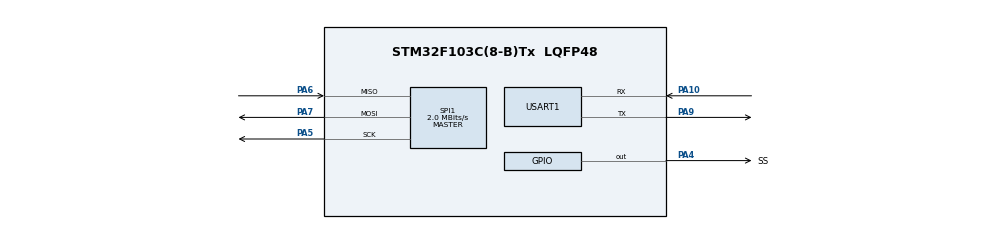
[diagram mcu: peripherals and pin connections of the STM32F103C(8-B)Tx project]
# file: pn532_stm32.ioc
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Mcu.Family=STM32F1
Mcu.Name=STM32F103C(8-B)Tx
Mcu.Package=LQFP48
NVIC.PriorityGroup=NVIC_PRIORITYGROUP_4
PA10.Mode=Asynchronous
PA10.Signal=USART1_RX
PA4.GPIO_Label=SS
PA4.GPIO_PuPd=GPIO_PULLUP
PA4.Signal=GPIO_Output
PA5.Mode=Full_Duplex_Master
PA5.Signal=SPI1_SCK
PA6.Mode=Full_Duplex_Master
PA6.Signal=SPI1_MISO
PA7.Mode=Full_Duplex_Master
PA7.Signal=SPI1_MOSI
PA9.Mode=Asynchronous
PA9.Signal=USART1_TX
ProjectManager.HeapSize=0x200
ProjectManager.StackSize=0x400
ProjectManager.TargetToolchain=MDK-ARM V5
RCC.APB1Freq_Value=8000000
RCC.APB2Freq_Value=8000000
SPI1.BaudRatePrescaler=SPI_BAUDRATEPRESCALER_4
SPI1.CalculateBaudRate=2.0 MBits/s
SPI1.Direction=SPI_DIRECTION_2LINES
SPI1.FirstBit=SPI_FIRSTBIT_LSB
SPI1.Mode=SPI_MODE_MASTER
SPI1.VirtualType=VM_MASTER
USART1.VirtualMode=VM_ASYNC
VP_SYS_VS_ND.Mode=No_Debug
board=custom

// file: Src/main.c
/* USER CODE BEGIN Header */
/**
  ******************************************************************************
  * @file           : main.c
  * @brief          : Main program body
  ******************************************************************************
  * @attention
  *
  * <h2><center>&copy; Copyright (c) 2019 STMicroelectronics.
  * All rights reserved.</center></h2>
  *
  * This software component is licensed by ST under BSD 3-Clause license,
  * the "License"; You may not use this file except in compliance with the
  * License. You may obtain a copy of the License at:
  *                        opensource.org/licenses/BSD-3-Clause
  *
  ******************************************************************************
  */
/* USER CODE END Header */

#include "main.h"

/* USER CODE BEGIN Includes */
#include "pn532_stm32f1.h"
/* USER CODE END Includes */

SPI_HandleTypeDef hspi1;

UART_HandleTypeDef huart1;

/* USER CODE BEGIN PV */
PN532 pn532;
/* USER CODE END PV */

void SystemClock_Config(void);
static void MX_GPIO_Init(void);
static void MX_SPI1_Init(void);
static void MX_USART1_UART_Init(void);

int main(void)
{
  /* USER CODE BEGIN 1 */
  uint8_t buff[255];
  uint8_t uid[MIFARE_UID_MAX_LENGTH];
  uint32_t pn532_error = PN532_ERROR_NONE;
  int32_t uid_len = 0;
  /* USER CODE END 1 */

  /* MCU Configuration--------------------------------------------------------*/

  /* Reset of all peripherals, Initializes the Flash interface and the Systick. */
  HAL_Init();

  /* Configure the system clock */
  SystemClock_Config();

  /* Initialize all configured peripherals */
  MX_GPIO_Init();
  MX_SPI1_Init();
  MX_USART1_UART_Init();
  /* USER CODE BEGIN 2 */
  printf("Hello!\r\n");
  PN532 pn532;
  PN532_Init(&pn532);
  PN532_GetFirmwareVersion(&pn532, buff);
  if (PN532_GetFirmwareVersion(&pn532, buff) == PN532_STATUS_OK) {
    printf("Found PN532 with firmware version: %d.%d\r\n", buff[1], buff[2]);
  }
  PN532_SamConfiguration(&pn532);
  printf("Waiting for RFID/NFC card...\r\n");
  /* USER CODE END 2 */

  /* Infinite loop */
  while (1)
  {

    /* USER CODE BEGIN 3 */
    // Check if a card is available to read
    uid_len = PN532_ReadPassiveTarget(&pn532, uid, PN532_MIFARE_ISO14443A, 1000);
    if (uid_len == PN532_STATUS_ERROR) {
      printf(".");
    } else {
      printf("Found card with UID: ");
      for (uint8_t i = 0; i < uid_len; i++) {
        printf("%02x ", uid[i]);
      }
      printf("\r\n");
      break;
    }
  }
  printf("Reading blocks...\r\n");
  for (uint8_t block_number = 0; block_number < 135; block_number++) {
    pn532_error = PN532_Ntag2xxReadBlock(&pn532, buff, block_number);
    if (pn532_error != PN532_ERROR_NONE) {
      break;
    }
    printf("%d: ", block_number);
    for (uint8_t i = 0; i < 4; i++) {
      printf("%02x ", buff[i]);
    }
    printf("\r\n");
  }
  if (pn532_error) {
    printf("Error: 0x%02x\r\n", pn532_error);
  }
  /* USER CODE END 3 */
}

void SystemClock_Config(void)
{
  RCC_OscInitTypeDef RCC_OscInitStruct = {0};
  RCC_ClkInitTypeDef RCC_ClkInitStruct = {0};

  /** Initializes the CPU, AHB and APB busses clocks
  */
  RCC_OscInitStruct.OscillatorType = RCC_OSCILLATORTYPE_HSI;
  RCC_OscInitStruct.HSIState = RCC_HSI_ON;
  RCC_OscInitStruct.HSICalibrationValue = RCC_HSICALIBRATION_DEFAULT;
  RCC_OscInitStruct.PLL.PLLState = RCC_PLL_NONE;
  if (HAL_RCC_OscConfig(&RCC_OscInitStruct) != HAL_OK)
  {
    Error_Handler();
  }
  /** Initializes the CPU, AHB and APB busses clocks
  */
  RCC_ClkInitStruct.ClockType = RCC_CLOCKTYPE_HCLK|RCC_CLOCKTYPE_SYSCLK
                              |RCC_CLOCKTYPE_PCLK1|RCC_CLOCKTYPE_PCLK2;
  RCC_ClkInitStruct.SYSCLKSource = RCC_SYSCLKSOURCE_HSI;
  RCC_ClkInitStruct.AHBCLKDivider = RCC_SYSCLK_DIV1;
  RCC_ClkInitStruct.APB1CLKDivider = RCC_HCLK_DIV1;
  RCC_ClkInitStruct.APB2CLKDivider = RCC_HCLK_DIV1;

  if (HAL_RCC_ClockConfig(&RCC_ClkInitStruct, FLASH_LATENCY_0) != HAL_OK)
  {
    Error_Handler();
  }
}

static void MX_SPI1_Init(void)
{

  /* SPI1 parameter configuration*/
  hspi1.Instance = SPI1;
  hspi1.Init.Mode = SPI_MODE_MASTER;
  hspi1.Init.Direction = SPI_DIRECTION_2LINES;
  hspi1.Init.DataSize = SPI_DATASIZE_8BIT;
  hspi1.Init.CLKPolarity = SPI_POLARITY_LOW;
  hspi1.Init.CLKPhase = SPI_PHASE_1EDGE;
  hspi1.Init.NSS = SPI_NSS_SOFT;
  hspi1.Init.BaudRatePrescaler = SPI_BAUDRATEPRESCALER_4;
  hspi1.Init.FirstBit = SPI_FIRSTBIT_LSB;
  hspi1.Init.TIMode = SPI_TIMODE_DISABLE;
  hspi1.Init.CRCCalculation = SPI_CRCCALCULATION_DISABLE;
  hspi1.Init.CRCPolynomial = 10;
  if (HAL_SPI_Init(&hspi1) != HAL_OK)
  {
    Error_Handler();
  }

}

static void MX_USART1_UART_Init(void)
{

  huart1.Instance = USART1;
  huart1.Init.BaudRate = 115200;
  huart1.Init.WordLength = UART_WORDLENGTH_8B;
  huart1.Init.StopBits = UART_STOPBITS_1;
  huart1.Init.Parity = UART_PARITY_NONE;
  huart1.Init.Mode = UART_MODE_TX_RX;
  huart1.Init.HwFlowCtl = UART_HWCONTROL_NONE;
  huart1.Init.OverSampling = UART_OVERSAMPLING_16;
  if (HAL_UART_Init(&huart1) != HAL_OK)
  {
    Error_Handler();
  }

}

static void MX_GPIO_Init(void)
{
  GPIO_InitTypeDef GPIO_InitStruct = {0};

  /* GPIO Ports Clock Enable */
  __HAL_RCC_GPIOA_CLK_ENABLE();

  /*Configure GPIO pin Output Level */
  HAL_GPIO_WritePin(SS_GPIO_Port, SS_Pin, GPIO_PIN_RESET);

  /*Configure GPIO pin : SS_Pin */
  GPIO_InitStruct.Pin = SS_Pin;
  GPIO_InitStruct.Mode = GPIO_MODE_OUTPUT_PP;
  GPIO_InitStruct.Pull = GPIO_PULLUP;
  GPIO_InitStruct.Speed = GPIO_SPEED_FREQ_LOW;
  HAL_GPIO_Init(SS_GPIO_Port, &GPIO_InitStruct);

}

/* USER CODE BEGIN 4 */
#ifdef __GNUC__
  /* With GCC/RAISONANCE, small printf (option LD Linker->Libraries->Small printf
     set to 'Yes') calls __io_putchar() */
  #define PUTCHAR_PROTOTYPE int __io_putchar(int ch)
#else
  #define PUTCHAR_PROTOTYPE int fputc(int ch, FILE *f)
#endif /* __GNUC__ */
/**
  * @brief  Retargets the C library printf function to the USART.
  * @param  None
  * @retval None
  */
PUTCHAR_PROTOTYPE
{
  /* Place your implementation of fputc here */
  /* e.g. write a character to the EVAL_COM1 and Loop until the end of transmission */
  HAL_UART_Transmit(&huart1, (uint8_t *)&ch, 1, 0xFFFF);

  return ch;
}
/* USER CODE END 4 */

void Error_Handler(void)
{
}

/************************ (C) COPYRIGHT STMicroelectronics *****END OF FILE****/
